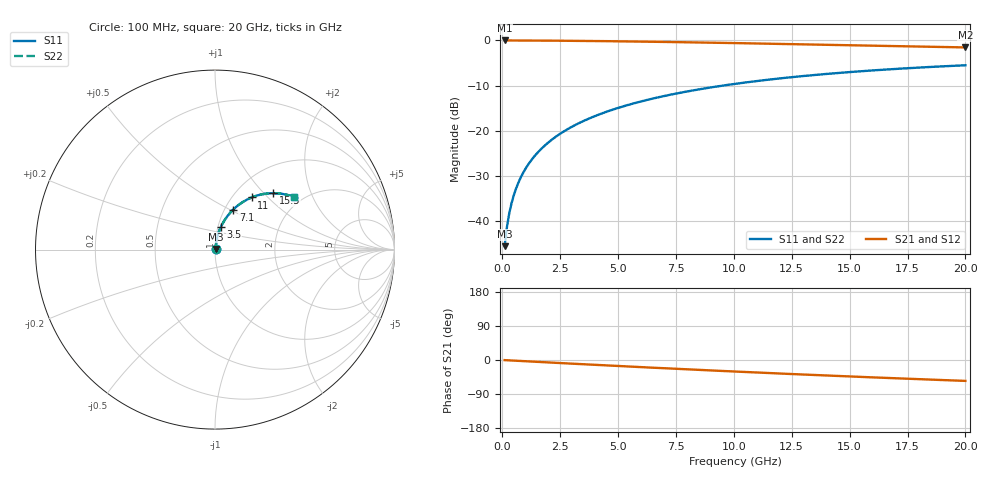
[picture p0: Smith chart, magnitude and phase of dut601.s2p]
! Touchstone file exported from HFSS 2026.1.0
!  File:  C:/ffzhzh/LocalFiles/Ansys_Project_Files/temp_train_TMRDL_601_1783008623_46388.aedt
!  Generated:  12:11:54 AM Jul  3, 2026
!  Design:  TMRDL
!  Project:  temp_train_TMRDL_601_1783008623_46388
! Variables:
!  h_bsmrdl = 2um
!  h_ox = 20um
!  h_rdl = 5um
!  h_sub = 80um
!  h_tmrdl = 5.99um
!  h_tsv = 80um
!  h_via = 3um
!  l_bsmrdl = 300um
!  l_sub = 1230.26um
!  l_tmrdl = 830.26um
!  m_sub = 200um
!  pitch = 48.14um
!  r_tsv = 6um
!  s_tmrdl = 10um
!  w_bsmrdl = 18um
!  w_sub = 500um
!  w_tmrdl = 14.02um
!  x_tsv_center1 = 837.27um
!  x_tsv_center2 = 1155.27um
!  x_tsv_center3 = 1999.55um
!  x_tsv_center4 = 2317.55um
!  x_tsv_center5 = 3161.83um
!  x_tsv_center6 = 3479.83um
# GHz S MA R 50.000000
! Terminal data exported
! Port[1] = TM_RDL1_1_T1
! Port[2] = TM_RDL1_1_T2
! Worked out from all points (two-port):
!   200 points, 100 MHz to 20 GHz, reference 50 ohm
!   highest |S21| = -0.03 dB at 100 MHz (marker M1); lowest = -1.6 dB at 20 GHz (marker M2)
!   |S21| within 3 dB of the highest: start of sweep to end of sweep
!   lowest |S11| = -45.5 dB at 100 MHz (marker M3), VSWR 1.01, Z = 50.4 + j0.392 ohm
!   |S11| at or under -10 dB: start of sweep to 9.545 GHz
!   |S22| runs from -45.5 to -5.5 dB; largest |S21 - S12| = 3e-14
!   S11 on the Smith chart (normalised r, x): 100 MHz: 1.01, +0.01; 3.5 GHz: 1.03, +0.26; 7.1 GHz: 1.10, +0.52; 11 GHz: 1.22, +0.81; 15.3 GHz: 1.43, +1.13; 20 GHz: 1.81, +1.47
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0.1  0.005288 47.5  0.9964 -0.3  0.9964 -0.3  0.005288 47.5
! Gamma 0 0 0 0
! Port Impedance 50 0 50 0
0.2  0.008596 64.1  0.9963 -0.7  0.9963 -0.7  0.008596 64.1
0.3  0.01217 70.9  0.9961 -1.0  0.9961 -1.0  0.01217 70.9
0.4  0.01581 74.4  0.996 -1.3  0.996 -1.3  0.01581 74.4
0.5  0.01947 76.5  0.9958 -1.6  0.9958 -1.6  0.01947 76.5
0.7  0.02683 78.8  0.9955 -2.3  0.9955 -2.3  0.02683 78.8
1  0.0379 80.1  0.9949 -3.3  0.9949 -3.3  0.0379 80.1
1.4  0.05265 80.3  0.9939 -4.5  0.9939 -4.5  0.05265 80.3
2  0.0746 79.5  0.9919 -6.5  0.9919 -6.5  0.0746 79.5
2.7  0.09979 77.8  0.9889 -8.7  0.9889 -8.7  0.09979 77.8
3.5  0.1279 75.6  0.9847 -11.2  0.9847 -11.2  0.1279 75.6
4.2  0.152 73.7  0.9805 -13.4  0.9805 -13.4  0.152 73.7
5  0.1787 71.4  0.9752 -15.8  0.9752 -15.8  0.1787 71.4
6.8  0.2362 66.3  0.9615 -21.2  0.9615 -21.2  0.2362 66.3
7.1  0.2454 65.5  0.959 -22.1  0.959 -22.1  0.2454 65.5
8.5  0.2869 61.6  0.9466 -26.1  0.9466 -26.1  0.2869 61.6
10.1  0.3312 57.3  0.9315 -30.6  0.9315 -30.6  0.3312 57.3
11  0.3546 54.9  0.9226 -33.1  0.9226 -33.1  0.3546 55.0
13.4  0.4117 48.8  0.8983 -39.4  0.8983 -39.4  0.4117 48.8
15.3  0.4513 44.2  0.879 -44.2  0.879 -44.2  0.4513 44.2
16.7  0.4775 40.8  0.8651 -47.6  0.8651 -47.6  0.4776 40.9
20  0.5299 33.4  0.8345 -55.1  0.8345 -55.1  0.5299 33.5
